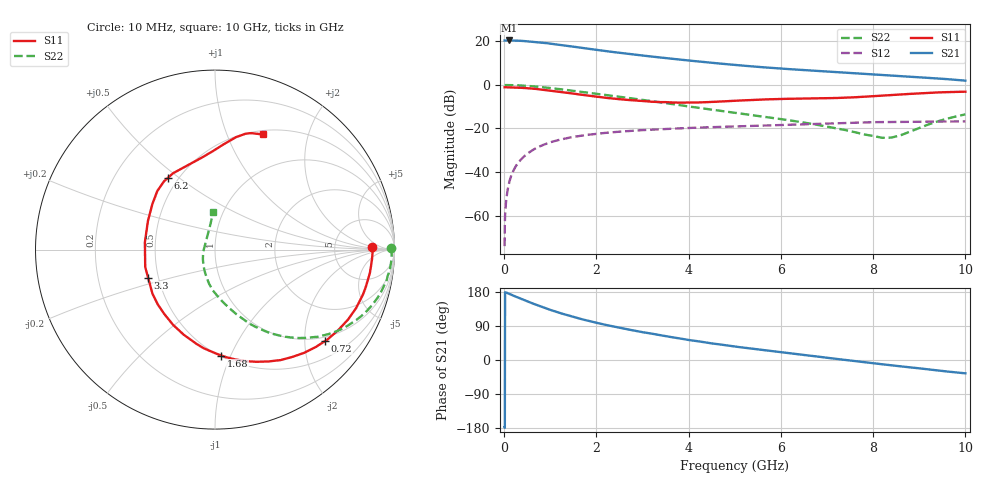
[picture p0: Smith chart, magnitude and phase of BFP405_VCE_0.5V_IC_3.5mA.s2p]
! Infineon Technologies  Discrete & RF Semiconductors
! BFP405
! VCE =  0.5 V,  IC =  3.5 mA
! Common Emitter S-Parameters:  Jan 2016
# GHz  S  MA  R  50
!  f  S11  S21  S12  S22
! GHz  MAG  ANG  MAG  ANG  MAG  ANG  MAG  ANG
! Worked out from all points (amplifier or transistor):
!   233 points, 10 MHz to 10 GHz, reference 50 ohm
!   highest |S21| = 20.3 dB at 100 MHz (marker M1)
!   |S21| within 3 dB of that: start of sweep to 1.552 GHz
!   unconditionally stable (mu >= 1): start of sweep to 13.35 MHz; 3.591 GHz to end of sweep
!   at 200 MHz: K = 0.07, MSG = 29.8 dB, |S12| = -39.4 dB
!   at 1.74 GHz: K = 0.50, MSG = 19.9 dB, |S12| = -23.1 dB
!   at 10 GHz: K = 1.57, MAG = 4.9 dB, |S12| = -16.8 dB
!   S11 on the Smith chart (normalised r, x): 10 MHz: 15, +2; 720 MHz: 0.89, -2.50; 1.68 GHz: 0.51, -0.92; 3.3 GHz: 0.44, -0.16; 6.2 GHz: 0.44, +0.45; 10 GHz: 0.55, +1.36
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0.01  0.8764 0.8  10.36 -177.0  0.0002 31.4  0.982 0.5
0.02  0.878 -1.0  10.33 178.8  0.001 92.5  0.984 -0.5
0.055  0.8767 -3.3  10.32 177.6  0.0028 89.8  0.9851 -1.7
0.1  0.8743 -5.5  10.39 174.8  0.0052 87.6  0.9853 -3.3
0.26  0.8645 -14.6  10.34 166.8  0.014 82.1  0.9729 -8.7
0.4  0.8511 -22.5  10.15 159.8  0.0212 77.6  0.9593 -13.3
0.72  0.7976 -39.6  9.488 144.6  0.0366 68.0  0.9046 -23.1
0.9  0.7603 -49.1  9.069 136.5  0.044 63.3  0.8668 -28.1
1.1  0.7164 -59.2  8.543 128.3  0.0517 58.3  0.8208 -33.4
1.4  0.6486 -73.7  7.743 117.1  0.0612 51.7  0.7506 -40.3
1.68  0.5911 -86.6  7.045 107.8  0.0685 46.4  0.688 -45.7
2  0.5346 -101.3  6.333 98.2  0.0755 41.2  0.6228 -51.2
2.4  0.4801 -119.1  5.581 87.6  0.0826 35.7  0.5493 -57.2
2.8  0.4413 -136.4  4.964 78.0  0.0888 31.0  0.4831 -62.6
3.3  0.4042 -157.3  4.321 67.3  0.095 25.7  0.4085 -68.8
3.4  0.4013 -161.6  4.209 65.1  0.0962 24.7  0.3942 -70.1
4  0.3927 174.1  3.609 52.8  0.1025 19.5  0.3189 -78.4
5.1  0.4358 142.0  2.797 34.0  0.1118 11.2  0.2212 -94.1
6.2  0.478 123.5  2.28 17.8  0.1212 4.4  0.1525 -109.3
6.8  0.4877 113.0  2.072 9.0  0.1272 0.6  0.1201 -120.6
8.4  0.5842 85.9  1.622 -14.1  0.1407 -12.1  0.0617 153.1
10  0.6957 67.2  1.246 -35.2  0.1448 -22.5  0.2102 93.3
